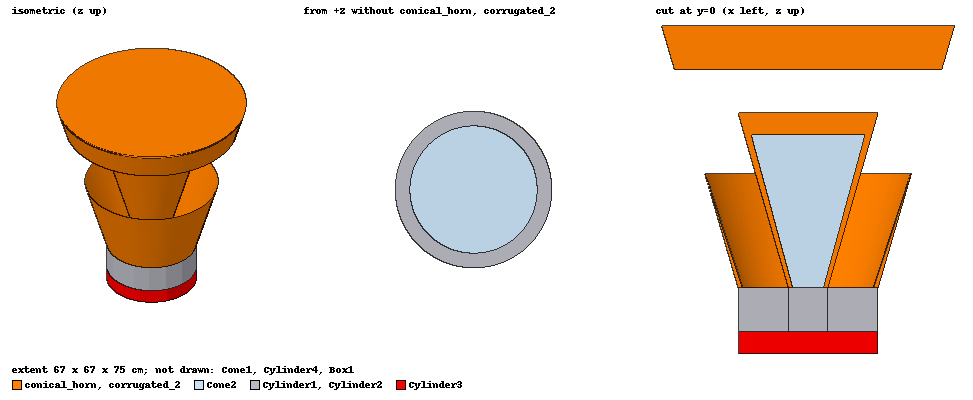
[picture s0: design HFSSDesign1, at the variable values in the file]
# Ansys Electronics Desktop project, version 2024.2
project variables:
  $r_inner = 0.75mm
  $r_dielectric = 2.95mm
  $r_coax_outer = 3.05mm
  $r_innerhorn_throat = 3.05mm
  $r_innerhorn_aperture = 15mm
  $l_innerhorn = 35mm
  $groove_depth_inner = 1.5mm
  $groove_pitch_inner = 1.5mm
  $r_outerhorn_throat = 15mm
  $r_outerhorn_aperture = 32.5mm
  $l_outerhorn = 50mm
  $groove_depth_outer = 2.5mm
  $groove_pitch_outer = 2.5mm
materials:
  vacuum: permittivity=1
  pec: conductivity=1e+30
  air: permittivity=1.0006 permeability=1.0000004

design HFSSDesign1 (HFSS, HFSS Modal Network, model units cm)
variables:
  r_inner = 0.75mm
  r_dielectric = 2.95mm
  r_coax_outer = 3.05mm
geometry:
  Cone1 [air] = cone(axis=Z, base_centre=(0cm, 0cm, 15cm), bottom_radius=15cm, top_radius=31.5cm, height=50cm)
  conical_horn [pec] = cone(axis=Z, base_centre=(0cm, 0cm, 15cm), bottom_radius=16cm, top_radius=33.5cm, height=60cm)
  Cone1_1 = Cone1.copy()
  conical_horn.subtract(Cone1_1)
  Cone2 [air] = cone(axis=Z, base_centre=(0cm, 0cm, 15cm), bottom_radius=3.5cm, top_radius=13cm, height=35cm)
  corrugated_2 [pec] = cone(axis=Z, base_centre=(0cm, 0cm, 15cm), bottom_radius=4.5cm, top_radius=16cm, height=40cm)
  Cone2_1 = Cone2.copy()
  corrugated_2.subtract(Cone2_1)
  Cylinder1 [pec] = cylinder(axis=Z, base_centre=(0cm, 0cm, 5cm), radius=16cm, height=10cm)
  Cylinder2 [pec] = cylinder(axis=Z, base_centre=(0cm, 0cm, 5cm), radius=4.5cm, height=10cm)
  Cylinder3 [pec] = cylinder(axis=Z, base_centre=(0cm, 0cm, 0cm), radius=16cm, height=5cm)
  Cylinder4 [air] = cylinder(axis=Z, base_centre=(0cm, 0cm, 5cm), radius=15cm, height=10cm)
  Box1 [vacuum] = box(corner=(-50cm, -50cm, -20cm), size=(110cm, 110cm, 110cm))
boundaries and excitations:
  Rad1: Radiation Objects=Box1
  1: Wave Port Faces=Cylinder3.face(-z end) WavePortType=Modal NumModes=1 Modes{Mode1{CharImp=Zpi}}
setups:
  Setup1: HfssDriven Frequency=0.75GHz MaxDeltaS=0.02 MaximumPasses=10 MinimumPasses=1 MinimumConvergedPasses=1 PercentRefinement=30 BasisOrder=1 PortAccuracy=2 DrivenSolverType="Domain Decomposition" IterativeResidual=1e-06 DDMSolverResidual=0.0001
    sweep Sweep: 250MHz to 500MHz step 25MHz; Type=Interpolating SaveFields InterpTolerance=0.5 InterpMaxSolns=250 InterpUsePortImped=false PassivityErrorTolerance=0.0001
    sweep Sweep2: 1GHz to 1.5GHz step 25MHz; Type=Interpolating SaveFields InterpTolerance=0.5 InterpMaxSolns=250 InterpUsePortImped=false PassivityErrorTolerance=0.0001
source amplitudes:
  1:1: 1W 0deg
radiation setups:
  Infinite Sphere1: Infinite Sphere Theta=-180deg..180deg step 10deg Phi=0deg..90deg step 90deg
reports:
  S Parameter Plot 1: dB(S(1,1)) vs Freq on Setup1 : Sweep
  Gain Plot 1: dB(GainTotal), dB(GainTotal), dB(GainTotal), dB(GainTotal) vs Phi, Theta on Setup1 : Sweep, Infinite Sphere1
  Gain Plot 2: dB(GainTotal) vs Phi, Theta on Setup1 : Sweep2, Infinite Sphere1 [Freq=1.25GHz]
  S Parameter Plot 2: dB(S(1,1)) vs Freq on Setup1 : Sweep2
